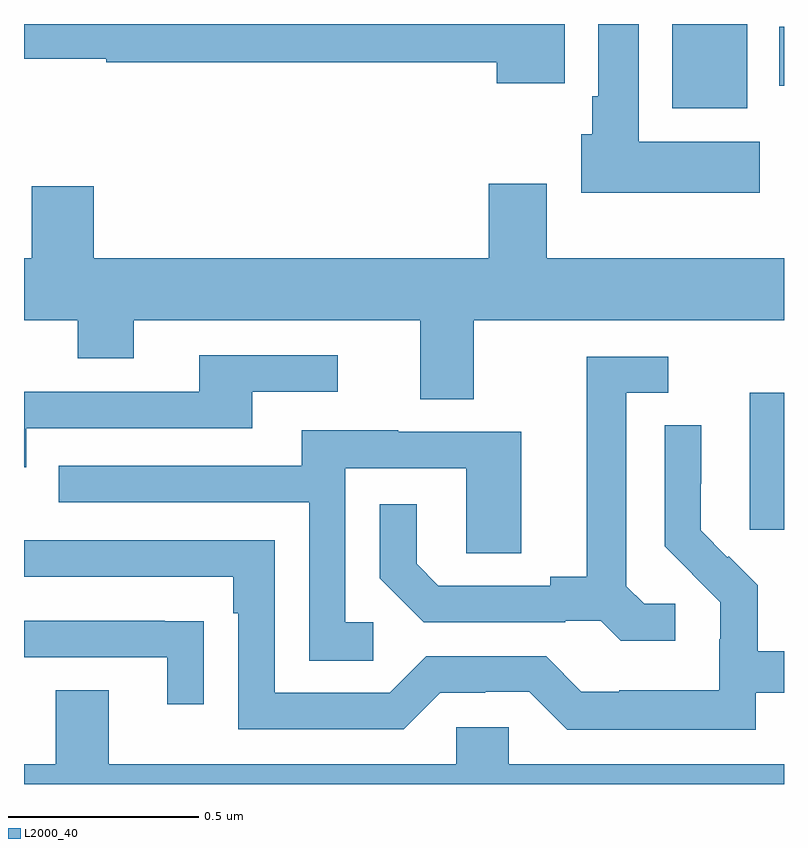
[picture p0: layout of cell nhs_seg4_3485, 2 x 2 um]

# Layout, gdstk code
import gdstk
lib = gdstk.Library(unit=1e-6, precision=1e-09)
def R(c, l, rs):  # rectangles x0, y0, x1, y1
    for r in rs: c.add(gdstk.rectangle(r[:2], r[2:], *l))
def P(c, l, *ps):  # polygons
    for p in ps: c.add(gdstk.Polygon(p, *l))
L2000_40 = (2000, 40)

nhs_seg4_3485 = lib.new_cell('nhs_seg4_3485')
R(nhs_seg4_3485, L2000_40, [(154.91,829.569,155,829.93), (154.706,830.678,154.903,830.9), (154.988,830.737,155,830.893)])
P(nhs_seg4_3485, L2000_40, [(154.936,830.59),(154.618,830.59),(154.618,830.9),(154.511,830.9),(154.511,830.71),(154.496,830.71),(154.496,830.61),(154.466,830.61),(154.466,830.456),(154.936,830.456)],
  [(154.423,830.9),(153,830.9),(153,830.808),(153.217,830.808),(153.217,830.8),(154.244,830.8),(154.244,830.744),(154.423,830.744)],
  [(154.183,830.12),(155,830.12),(155,830.284),(154.375,830.284),(154.375,830.479),(154.223,830.479),(154.223,830.284),(153.184,830.284),(153.184,830.473),(153.02,830.473),(153.02,830.284),(153,830.284),(153,830.12),(153.142,830.12),(153.142,830.021),(153.289,830.021),(153.289,830.12),(154.043,830.12),(154.043,829.912),(154.183,829.912)],
  [(153.006,829.836),(153.601,829.836),(153.601,829.932),(153.826,829.932),(153.826,830.028),(153.461,830.028),(153.461,829.932),(153,829.932),(153,829.733),(153.006,829.733)],
  [(154.714,829.374),(154.632,829.374),(154.585,829.421),(154.585,829.929),(154.696,829.929),(154.696,830.025),(154.481,830.025),(154.481,829.445),(154.385,829.445),(154.385,829.422),(154.09,829.422),(154.033,829.479),(154.033,829.636),(153.936,829.636),(153.936,829.442),(154.052,829.326),(154.424,829.326),(154.424,829.329),(154.518,829.329),(154.57,829.277),(154.714,829.277)],
  [(154.926,829.14),(155,829.14),(155,829.249),(154.931,829.249),(154.931,829.423),(154.854,829.5),(154.851,829.497),(154.781,829.568),(154.781,829.69),(154.782,829.69),(154.782,829.844),(154.686,829.844),(154.686,829.526),(154.759,829.453),(154.758,829.452),(154.832,829.378),(154.832,829.281),(154.83,829.281),(154.83,829.147),(154.567,829.147),(154.567,829.143),(154.467,829.143),(154.374,829.236),(154.059,829.236),(153.963,829.14),(153.66,829.14),(153.66,829.542),(153,829.542),(153,829.446),(153.551,829.446),(153.551,829.349),(153.564,829.349),(153.564,829.044),(153.999,829.044),(154.095,829.14),(154.214,829.14),(154.214,829.143),(154.329,829.143),(154.429,829.043),(154.926,829.043)],
  [(153.919,829.326),(153.846,829.326),(153.846,829.731),(154.164,829.731),(154.164,829.507),(154.309,829.507),(154.309,829.827),(153.985,829.827),(153.985,829.831),(153.731,829.831),(153.731,829.737),(153.091,829.737),(153.091,829.641),(153.75,829.641),(153.75,829.225),(153.919,829.225)],
  [(153.473,829.328),(153.371,829.328),(153.371,829.329),(153,829.329),(153,829.233),(153.377,829.233),(153.377,829.11),(153.473,829.11)],
  [(155,828.952),(154.275,828.952),(154.275,829.05),(154.137,829.05),(154.137,828.952),(153.223,828.952),(153.223,829.147),(153.083,829.147),(153.083,828.952),(153,828.952),(153,828.9),(155,828.9)])

lib.write_gds('nhs_seg4_3485.gds')
